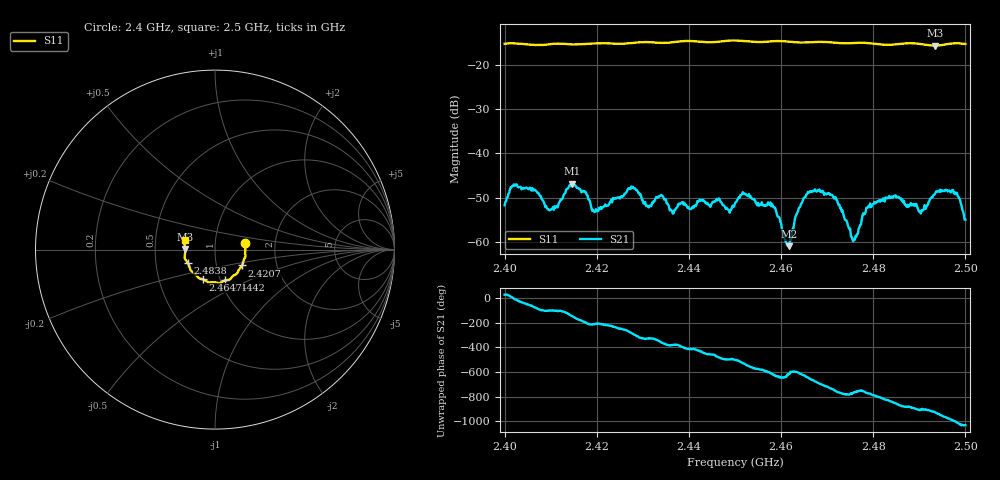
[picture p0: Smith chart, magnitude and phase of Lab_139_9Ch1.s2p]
# Hz S RI R 50
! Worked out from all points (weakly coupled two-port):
!   601 points, 2.4 GHz to 2.5 GHz, reference 50 ohm
!   highest |S21| = -46.82 dB at 2.4147 GHz (marker M1); lowest = -61.0 dB at 2.4617 GHz (marker M2)
!   lowest |S11| = -15.6 dB at 2.4935 GHz (marker M3), VSWR 1.40, Z = 35.8 + j0.145 ohm
!   |S11| at or under -10 dB: start of sweep to end of sweep
!   S12 and S22 are empty: the file has one direction only
!   S11 on the Smith chart (normalised r, x): 2.4 GHz: 1.40, +0.11; 2.4207 GHz: 1.33, -0.24; 2.4442 GHz: 1.05, -0.37; 2.4647 GHz: 0.83, -0.29; 2.4838 GHz: 0.73, -0.11; 2.5 GHz: 0.71, +0.08
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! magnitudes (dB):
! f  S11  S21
! 2.4 GHz  -15.2  -51.7
! 2.4022 GHz  -15.1  -47.3
! 2.4102 GHz  -15.3  -52.6
! 2.4147 GHz  -15.4  -46.8
! 2.4167 GHz  -15.3  -48.8
! 2.4207 GHz  -15.1  -52.5
! 2.4273 GHz  -15.1  -48.1
! 2.4333 GHz  -15.0  -49.9
! 2.4442 GHz  -14.9  -51.5
! 2.45 GHz  -14.5  -51.3
! 2.4582 GHz  -14.6  -51.7
! 2.4617 GHz  -14.7  -61.0
! 2.4647 GHz  -14.9  -50.8
! 2.4667 GHz  -14.9  -48.7
! 2.4717 GHz  -15.0  -49.9
! 2.4757 GHz  -15.0  -59.9
! 2.4833 GHz  -15.5  -49.9
! 2.4838 GHz  -15.4  -49.9
! 2.4903 GHz  -15.3  -53.6
! 2.4935 GHz  -15.6  -48.9
! 2.4977 GHz  -15.1  -48.8
! 2.5 GHz  -15.3  -55.0
